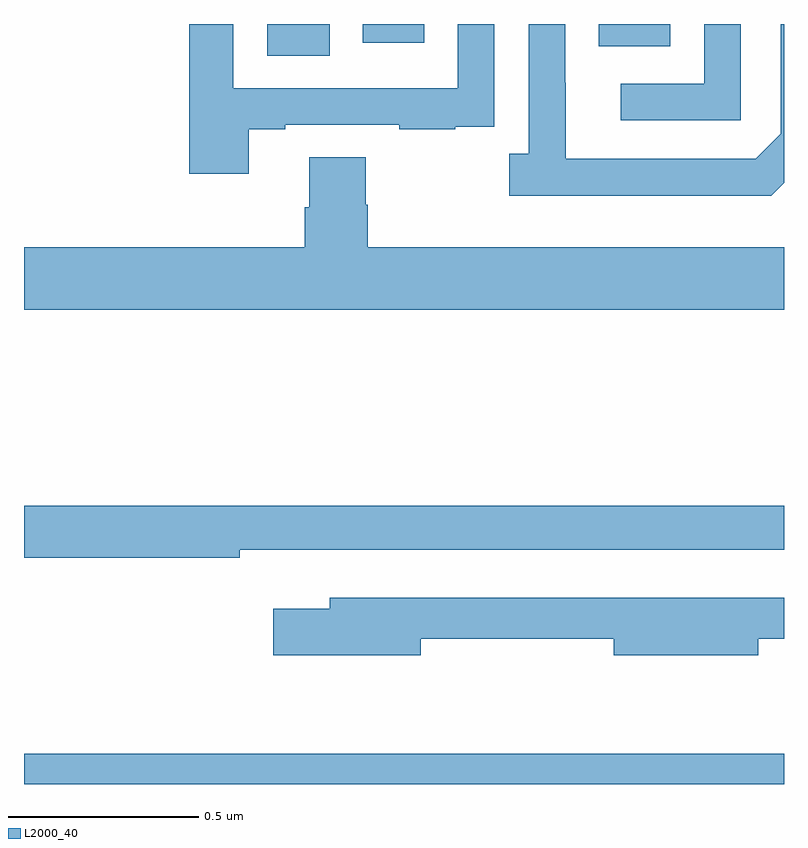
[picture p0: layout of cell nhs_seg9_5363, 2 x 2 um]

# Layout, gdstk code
import gdstk
lib = gdstk.Library(unit=1e-6, precision=1e-09)
def R(c, l, rs):  # rectangles x0, y0, x1, y1
    for r in rs: c.add(gdstk.rectangle(r[:2], r[2:], *l))
def P(c, l, *ps):  # polygons
    for p in ps: c.add(gdstk.Polygon(p, *l))
L2000_40 = (2000, 40)

nhs_seg9_5363 = lib.new_cell('nhs_seg9_5363')
R(nhs_seg9_5363, L2000_40, [(178,1200.5,180,1200.58), (178.64,1202.416,178.804,1202.5), (179.513,1202.441,179.701,1202.5), (178.892,1202.451,179.053,1202.5)])
P(nhs_seg9_5363, L2000_40, [(178.591,1202.223),(178.687,1202.223),(178.687,1202.235),(178.987,1202.235),(178.987,1202.223),(179.135,1202.223),(179.135,1202.229),(179.237,1202.229),(179.237,1202.338),(179.238,1202.338),(179.238,1202.5),(179.142,1202.5),(179.142,1202.331),(178.551,1202.331),(178.551,1202.5),(178.435,1202.5),(178.435,1202.106),(178.591,1202.106)],
  [(180,1202.082),(180,1202.5),(179.991,1202.5),(179.991,1202.211),(179.925,1202.145),(179.425,1202.145),(179.425,1202.345),(179.424,1202.345),(179.424,1202.5),(179.328,1202.5),(179.328,1202.158),(179.277,1202.158),(179.277,1202.048),(179.966,1202.048)],
  [(179.886,1202.5),(179.79,1202.5),(179.79,1202.343),(179.571,1202.343),(179.571,1202.247),(179.886,1202.247)],
  [(180,1201.912),(178.904,1201.912),(178.904,1202.025),(178.899,1202.025),(178.899,1202.15),(178.751,1202.15),(178.751,1202.018),(178.739,1202.018),(178.739,1201.912),(178,1201.912),(178,1201.748),(180,1201.748)],
  [(178.568,1201.116),(180,1201.116),(180,1201.232),(178,1201.232),(178,1201.096),(178.568,1201.096)],
  [(179.044,1200.882),(179.552,1200.882),(179.552,1200.839),(179.932,1200.839),(179.932,1200.882),(180,1200.882),(180,1200.99),(178.805,1200.99),(178.805,1200.961),(178.656,1200.961),(178.656,1200.839),(179.044,1200.839)])

lib.write_gds('nhs_seg9_5363.gds')
